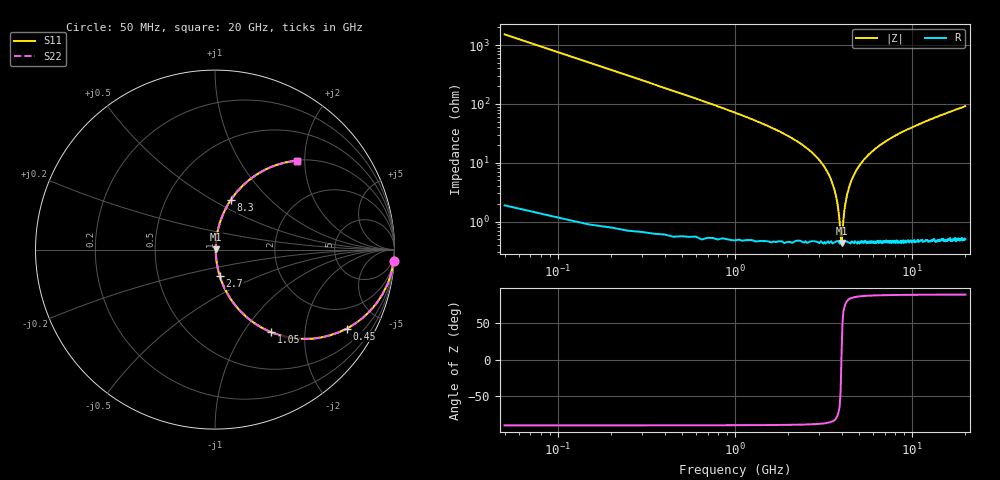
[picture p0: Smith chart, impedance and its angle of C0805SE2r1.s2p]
! AVX Thin Film Operation		Date: April 2012
! Description: Accu-P® Series, Thin Film, SMD, RF Capacitor
! Part Number: 08051J2R1QBTTR
!	100	MHz	-	20.05	GHz
!	Serial	Measurements
#	MHZ	S	MA	R	50
!	S11	S21	S12	S22
!	dB	Phase	dB	Phase	dB	Phase	dB	Phase
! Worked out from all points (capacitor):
!   400 points, 50 MHz to 20 GHz, reference 50 ohm
!   read as one part in series: C = 2.1 pF near 150 MHz
!   lowest |Z| = 433 mohm at 4 GHz (marker M1)
!   series resonance near 3.99 GHz, so ESL is about 760 pH
!   S11 on the Smith chart (normalised r, x): 50 MHz: 1, -30; 450 MHz: 1.01, -3.33; 1.05 GHz: 1.01, -1.34; 2.7 GHz: 1.01, -0.30; 8.3 GHz: 1.01, +0.61; 20 GHz: 1.01, +1.83
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50  0.998 -3.8  0.066 86.2  0.066 86.2  0.998 -3.8
100  0.991 -7.5  0.131 82.4  0.131 82.4  0.991 -7.5
200  0.966 -14.8  0.256 75.1  0.256 75.1  0.966 -14.8
450  0.856 -31.0  0.515 58.8  0.515 58.8  0.856 -31.0
1050  0.556 -55.8  0.827 33.8  0.827 33.8  0.556 -55.8
1700  0.341 -69.3  0.936 20.0  0.936 20.0  0.341 -69.3
2700  0.15 -79.7  0.984 8.6  0.984 8.6  0.15 -79.7
3400  0.061 -82.4  0.994 3.5  0.994 3.5  0.061 -82.4
3750  0.024 -78.0  0.995 1.3  0.995 1.3  0.024 -78.0
3850  0.014 -71.1  0.995 0.8  0.995 0.8  0.014 -71.1
4000  0.004521 12.0  0.996 -0.1  0.996 -0.1  0.004521 12.0
4150  0.016 72.6  0.995 -0.9  0.995 -0.9  0.016 72.6
4200  0.02 76.1  0.995 -1.1  0.995 -1.1  0.02 76.1
4450  0.042 81.5  0.995 -2.4  0.995 -2.4  0.042 81.5
4650  0.058 82.3  0.994 -3.3  0.994 -3.3  0.058 82.3
5400  0.116 81.2  0.989 -6.6  0.989 -6.6  0.116 81.2
6700  0.201 77.2  0.975 -11.6  0.975 -11.6  0.201 77.2
8300  0.29 72.3  0.953 -16.8  0.953 -16.8  0.29 72.3
10050  0.372 67.5  0.924 -21.9  0.924 -21.9  0.372 67.5
13350  0.499 59.6  0.862 -29.9  0.862 -29.9  0.499 59.6
16700  0.598 52.9  0.798 -36.7  0.798 -36.7  0.598 52.9
20000  0.673 47.4  0.736 -42.3  0.736 -42.3  0.673 47.4
